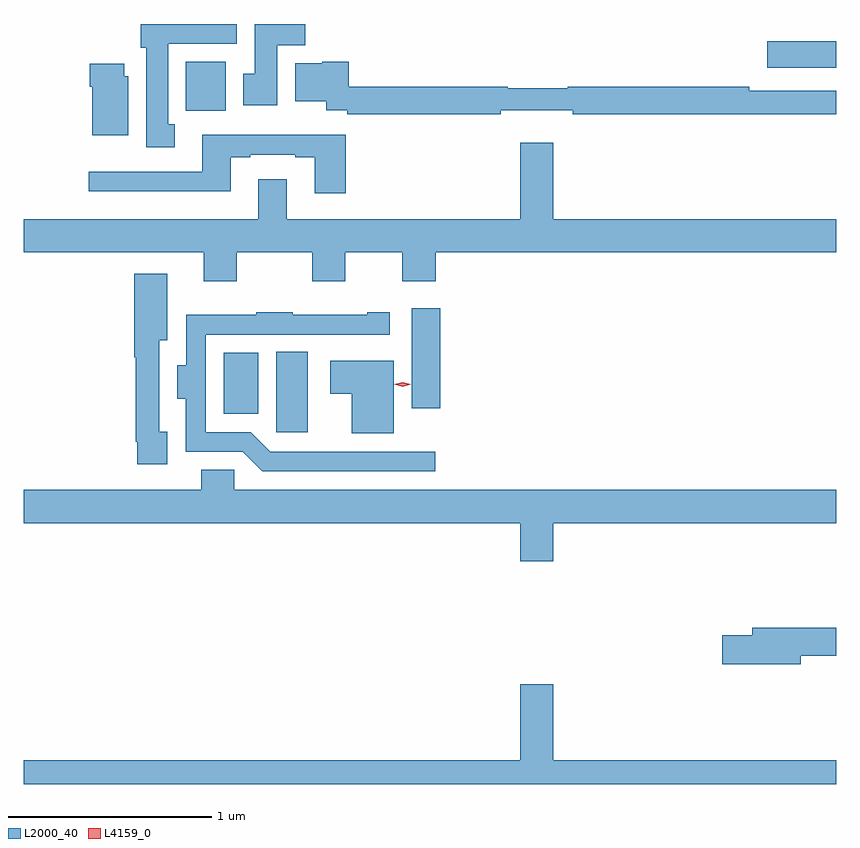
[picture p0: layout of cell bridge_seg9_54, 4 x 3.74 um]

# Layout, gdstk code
import gdstk
lib = gdstk.Library(unit=1e-6, precision=1e-09)
def R(c, l, rs):  # rectangles x0, y0, x1, y1
    for r in rs: c.add(gdstk.rectangle(r[:2], r[2:], *l))
def P(c, l, *ps):  # polygons
    for p in ps: c.add(gdstk.Polygon(p, *l))
L2000_40 = (2000, 40)
L4159_0 = (4159, 0)

bridge_seg9_54 = lib.new_cell('bridge_seg9_54')
R(bridge_seg9_54, L2000_40, [(1098.872,1166.231,1099.027,1166.627), (1098.614,1166.321,1098.784,1166.623), (1099.538,1166.349,1099.679,1166.842), (1098.428,1167.812,1098.625,1168.054), (1101.288,1168.025,1101.629,1168.155)])
P(bridge_seg9_54, L2000_40, [(1098.373,1167.746),(1098.34,1167.746),(1098.34,1168.142),(1098.679,1168.142),(1098.679,1168.24),(1098.206,1168.24),(1098.206,1168.122),(1098.233,1168.122),(1098.233,1167.633),(1098.373,1167.633)],
  [(1098.877,1168.136),(1099.016,1168.136),(1099.016,1168.24),(1098.767,1168.24),(1098.767,1167.996),(1098.71,1167.996),(1098.71,1167.84),(1098.877,1167.84)],
  [(1099.976,1167.815),(1100.332,1167.815),(1100.332,1167.796),(1101.629,1167.796),(1101.629,1167.912),(1101.2,1167.912),(1101.2,1167.932),(1100.308,1167.932),(1100.308,1167.925),(1100.012,1167.925),(1100.012,1167.932),(1099.228,1167.932),(1099.228,1168.054),(1099.098,1168.054),(1099.098,1168.048),(1098.965,1168.048),(1098.965,1167.86),(1099.119,1167.86),(1099.119,1167.816),(1099.222,1167.816),(1099.222,1167.796),(1099.976,1167.796)],
  [(1098.145,1167.984),(1098.124,1167.984),(1098.124,1168.045),(1097.954,1168.045),(1097.954,1167.932),(1097.966,1167.932),(1097.966,1167.692),(1098.145,1167.692)],
  [(1099.214,1167.694),(1098.509,1167.694),(1098.509,1167.513),(1097.949,1167.513),(1097.949,1167.416),(1098.649,1167.416),(1098.649,1167.585),(1098.745,1167.585),(1098.745,1167.597),(1098.965,1167.597),(1098.965,1167.585),(1099.061,1167.585),(1099.061,1167.408),(1099.214,1167.408)],
  [(1098.679,1167.116),(1099.049,1167.116),(1099.049,1166.973),(1099.213,1166.973),(1099.213,1167.116),(1099.493,1167.116),(1099.493,1166.973),(1099.657,1166.973),(1099.657,1167.116),(1101.629,1167.116),(1101.629,1167.28),(1100.236,1167.28),(1100.236,1167.655),(1100.072,1167.655),(1100.072,1167.28),(1098.925,1167.28),(1098.925,1167.475),(1098.785,1167.475),(1098.785,1167.28),(1097.629,1167.28),(1097.629,1167.116),(1098.515,1167.116),(1098.515,1166.973),(1098.679,1166.973)],
  [(1098.337,1166.233),(1098.297,1166.233),(1098.297,1166.684),(1098.337,1166.684),(1098.337,1167.01),(1098.173,1167.01),(1098.173,1166.601),(1098.181,1166.601),(1098.181,1166.185),(1098.189,1166.185),(1098.189,1166.073),(1098.337,1166.073)],
  [(1099.654,1166.136),(1098.843,1166.136),(1098.747,1166.232),(1098.525,1166.232),(1098.525,1166.712),(1099.432,1166.712),(1099.432,1166.821),(1099.319,1166.821),(1099.319,1166.809),(1098.953,1166.809),(1098.953,1166.821),(1098.775,1166.821),(1098.775,1166.809),(1098.429,1166.809),(1098.429,1166.56),(1098.386,1166.56),(1098.386,1166.396),(1098.428,1166.396),(1098.428,1166.136),(1098.708,1166.136),(1098.804,1166.04),(1099.654,1166.04)],
  [(1099.45,1166.584),(1099.137,1166.584),(1099.137,1166.42),(1099.244,1166.42),(1099.244,1166.225),(1099.45,1166.225)],
  [(1100.236,1165.784),(1101.629,1165.784),(1101.629,1165.948),(1098.666,1165.948),(1098.666,1166.046),(1098.503,1166.046),(1098.503,1165.948),(1097.629,1165.948),(1097.629,1165.784),(1100.072,1165.784),(1100.072,1165.596),(1100.236,1165.596)],
  [(1101.454,1165.132),(1101.629,1165.132),(1101.629,1165.268),(1101.215,1165.268),(1101.215,1165.232),(1101.066,1165.232),(1101.066,1165.09),(1101.454,1165.09)],
  [(1101.629,1164.616),(1100.236,1164.616),(1100.236,1164.991),(1100.072,1164.991),(1100.072,1164.616),(1097.629,1164.616),(1097.629,1164.5),(1101.629,1164.5)])
P(bridge_seg9_54, L4159_0, [(1099.495,1166.456),(1099.454,1166.466),(1099.454,1166.466),(1099.454,1166.466),(1099.494,1166.476),(1099.535,1166.467),(1099.535,1166.467),(1099.535,1166.466)])

lib.write_gds('bridge_seg9_54.gds')
